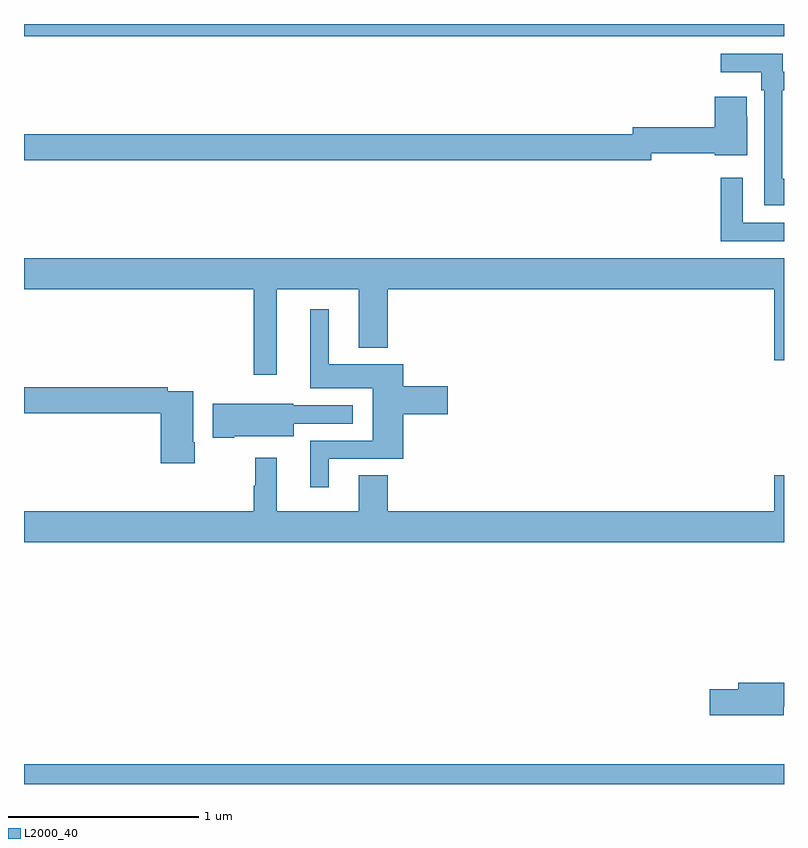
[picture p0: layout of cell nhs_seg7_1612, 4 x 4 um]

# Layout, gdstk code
import gdstk
lib = gdstk.Library(unit=1e-6, precision=1e-09)
def R(c, l, rs):  # rectangles x0, y0, x1, y1
    for r in rs: c.add(gdstk.rectangle(r[:2], r[2:], *l))
def P(c, l, *ps):  # polygons
    for p in ps: c.add(gdstk.Polygon(p, *l))
L2000_40 = (2000, 40)

nhs_seg7_1612 = lib.new_cell('nhs_seg7_1612')
R(nhs_seg7_1612, L2000_40, [(221,1010,225,1010.104), (221,1013.936,225,1014)])
P(nhs_seg7_1612, L2000_40, [(225,1013.185),(224.991,1013.185),(224.991,1013.652),(225,1013.652),(225,1013.75),(224.994,1013.75),(224.994,1013.844),(224.667,1013.844),(224.667,1013.747),(224.879,1013.747),(224.879,1013.651),(224.895,1013.651),(224.895,1013.045),(225,1013.045)],
  [(224.301,1013.32),(224.636,1013.32),(224.636,1013.309),(224.806,1013.309),(224.806,1013.513),(224.805,1013.513),(224.805,1013.616),(224.636,1013.616),(224.636,1013.456),(224.205,1013.456),(224.205,1013.42),(221,1013.42),(221,1013.284),(224.301,1013.284)],
  [(225,1012.953),(224.784,1012.953),(224.784,1013.191),(224.668,1013.191),(224.668,1012.857),(225,1012.857)],
  [(222.331,1012.604),(222.761,1012.604),(222.761,1012.295),(222.914,1012.295),(222.914,1012.604),(224.948,1012.604),(224.948,1012.23),(225,1012.23),(225,1012.768),(221,1012.768),(221,1012.604),(222.21,1012.604),(222.21,1012.155),(222.331,1012.155)],
  [(222.604,1011.711),(222.995,1011.711),(222.995,1011.947),(223.231,1011.947),(223.231,1012.094),(222.995,1012.094),(222.995,1012.21),(222.604,1012.21),(222.604,1012.498),(222.506,1012.498),(222.506,1012.082),(222.836,1012.082),(222.836,1011.807),(222.506,1011.807),(222.506,1011.561),(222.604,1011.561)],
  [(221.898,1011.799),(221.89,1011.799),(221.89,1012.068),(221.756,1012.068),(221.756,1012.088),(221,1012.088),(221,1011.952),(221.72,1011.952),(221.72,1011.687),(221.898,1011.687)],
  [(222.106,1011.83),(222.421,1011.83),(222.421,1011.897),(222.73,1011.897),(222.73,1011.993),(222.417,1011.993),(222.417,1012.001),(221.994,1012.001),(221.994,1011.823),(222.106,1011.823)],
  [(225,1011.625),(224.948,1011.625),(224.948,1011.436),(222.914,1011.436),(222.914,1011.626),(222.761,1011.626),(222.761,1011.436),(222.331,1011.436),(222.331,1011.718),(222.217,1011.718),(222.217,1011.569),(222.21,1011.569),(222.21,1011.436),(221,1011.436),(221,1011.272),(225,1011.272)],
  [(224.998,1010.406),(225,1010.406),(225,1010.534),(224.759,1010.534),(224.759,1010.498),(224.61,1010.498),(224.61,1010.363),(224.998,1010.363)])

lib.write_gds('nhs_seg7_1612.gds')
